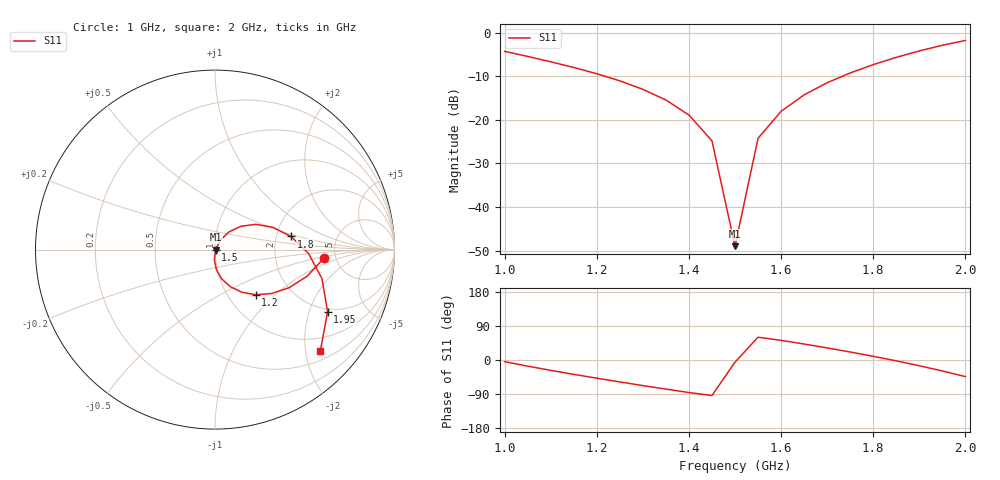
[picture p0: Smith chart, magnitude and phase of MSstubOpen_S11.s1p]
! S-parameter export from FEKO
!  Filename:  MSstubOpen_S11.s1p
!  Creation date: 2015-04-07 14:46:22
# Hz S MA R  5.00000E+01
!  FREQ  |S11|  <S11
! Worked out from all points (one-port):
!   21 points, 1 GHz to 2 GHz, reference 50 ohm
!   lowest |S11| = -49.0 dB at 1.5 GHz (marker M1), VSWR 1.01, Z = 50.4 - j0.0357 ohm
!   |S11| at or under -10 dB: 1.218 GHz to 1.733 GHz (515.5 MHz wide, 34.9 % of centre)
!   S11 on the Smith chart (normalised r, x): 1 GHz: 4.04, -0.59; 1.2 GHz: 1.34, -0.76; 1.5 GHz: 1.01, -0.00; 1.8 GHz: 2.41, +0.43; 1.95 GHz: 1.88, -2.68; 2 GHz: 0.69, -2.31
1e9  0.6101 -4.3
1.05e9  0.5337 -16.2
1.1e9  0.4636 -27.3
1.15e9  0.3987 -37.9
1.2e9  0.3379 -48.0
1.25e9  0.28 -57.9
1.3e9  0.224 -67.5
1.35e9  0.1689 -76.8
1.4e9  0.1136 -85.8
1.45e9  0.0574 -93.7
1.5e9  0.003554 -5.7
1.55e9  0.06136 60.1
1.6e9  0.1253 51.8
1.65e9  0.1933 42.1
1.7e9  0.2664 31.9
1.75e9  0.345 21.1
1.8e9  0.4298 9.8
1.85e9  0.5209 -2.3
1.9e9  0.6173 -15.1
1.95e9  0.7167 -28.9
2e9  0.8138 -43.8
